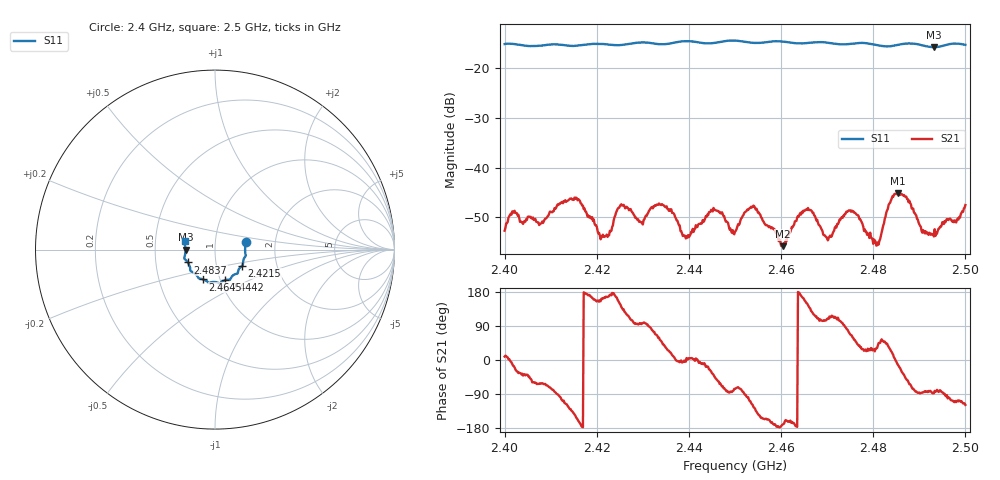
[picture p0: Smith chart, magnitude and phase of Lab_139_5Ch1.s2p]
# Hz S RI R 50
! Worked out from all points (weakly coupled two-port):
!   601 points, 2.4 GHz to 2.5 GHz, reference 50 ohm
!   highest |S21| = -45.11 dB at 2.4853 GHz (marker M1); lowest = -55.8 dB at 2.4603 GHz (marker M2)
!   lowest |S11| = -15.7 dB at 2.4932 GHz (marker M3), VSWR 1.39, Z = 36 - j0.0656 ohm
!   |S11| at or under -10 dB: start of sweep to end of sweep
!   S12 and S22 are empty: the file has one direction only
!   S11 on the Smith chart (normalised r, x): 2.4 GHz: 1.41, +0.12; 2.4215 GHz: 1.33, -0.25; 2.4442 GHz: 1.05, -0.37; 2.4645 GHz: 0.83, -0.29; 2.4837 GHz: 0.73, -0.11; 2.5 GHz: 0.71, +0.07
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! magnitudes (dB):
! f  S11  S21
! 2.4 GHz  -15.1  -52.7
! 2.4018 GHz  -15.1  -48.9
! 2.4167 GHz  -15.3  -47.3
! 2.4215 GHz  -15.1  -54.0
! 2.4252 GHz  -15.3  -47.6
! 2.4297 GHz  -14.8  -51.0
! 2.4333 GHz  -15.1  -47.5
! 2.4392 GHz  -14.5  -53.8
! 2.4442 GHz  -15.0  -49.6
! 2.45 GHz  -14.4  -52.9
! 2.4538 GHz  -14.8  -47.9
! 2.4603 GHz  -14.6  -55.8
! 2.4645 GHz  -15.0  -48.9
! 2.4667 GHz  -14.8  -48.8
! 2.4703 GHz  -14.8  -54.2
! 2.4755 GHz  -15.0  -48.8
! 2.4808 GHz  -15.3  -55.7
! 2.4833 GHz  -15.6  -47.5
! 2.4837 GHz  -15.5  -47.1
! 2.4853 GHz  -15.3  -45.1
! 2.4932 GHz  -15.7  -53.9
! 2.5 GHz  -15.3  -47.6
